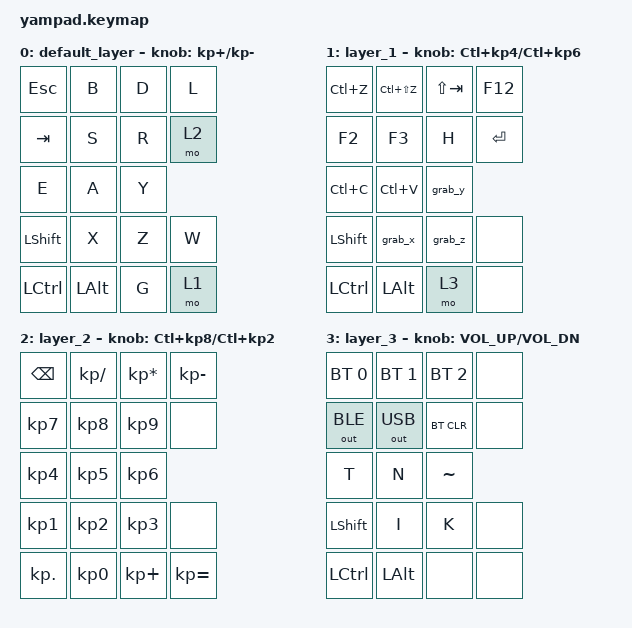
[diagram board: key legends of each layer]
#include <behaviors.dtsi>
#include <dt-bindings/zmk/keys.h>
#include <dt-bindings/zmk/bt.h>
#include <dt-bindings/zmk/outputs.h>

/ {
    macros {
        grab_x: grab_x {
            compatible = "zmk,behavior-macro";
            #binding-cells = <0>;
            wait-ms = <200>;
            tap-ms = <30>;
            bindings
                = <&macro_tap &kp G>
                , <&macro_tap &kp X>
                ;
        };
        
        grab_y: grab_y {
            compatible = "zmk,behavior-macro";
            #binding-cells = <0>;
            wait-ms = <200>;
            tap-ms = <30>;
            bindings
                = <&macro_tap &kp G>
                , <&macro_tap &kp Y>
                ;
        };
        
        grab_z: grab_z {
            compatible = "zmk,behavior-macro";
            #binding-cells = <0>;
            wait-ms = <200>;
            tap-ms = <30>;
            bindings
                = <&macro_tap &kp G>
                , <&macro_tap &kp Z>
                ;
        };

        default_view: default_view {
            compatible = "zmk,behavior-macro";
            #binding-cells = <0>;
            wait-ms = <200>;
            tap-ms = <30>;
            bindings
                = <&macro_tap &kp KP_N1>
                , <&macro_tap &kp KP_N5>
                , <&macro_tap &kp HOME>
                ;
        };
    };

    keymap {
        compatible = "zmk,keymap";

        default_layer {
            sensor-bindings = <&inc_dec_kp KP_PLUS KP_MINUS>;  // Zoom in/out
            bindings = <
                &kp ESCAPE       &kp B       &kp D       &kp L
                &kp TAB          &kp S       &kp R       &mo 2 
                &kp E            &kp A       &kp Y
                &kp LSHIFT       &kp X       &kp Z       &kp W
                &kp LCTRL        &kp LALT    &kp G       &mo 1
            >;
        };

        layer_1 { 
            sensor-bindings = <&inc_dec_kp LC(KP_NUMBER_4) LC(KP_NUMBER_6)>;  // Ctrl + Numpad 4/6 // PAN LEFT RIGHT
            bindings = <
                &kp LC(Z)        &kp LC(LS(Z))    &kp LS(TAB)      &kp F12
                &kp F2           &kp F3           &kp H            &kp ENTER 
                &kp LC(C)        &kp LC(V)        &grab_y
                &kp LSHIFT       &grab_x          &grab_z          &none
                &kp LCTRL        &kp LALT         &mo 3            &none
            >;
        };

        layer_2 { 
            sensor-bindings = <&inc_dec_kp LC(KP_NUMBER_8) LC(KP_NUMBER_2)>;  // Ctrl + Numpad 4/6 // PAN LEFT RIGHT
            bindings = <
                &kp BACKSPACE    &kp KP_DIVIDE    &kp KP_MULTIPLY  &kp KP_MINUS
                &kp KP_NUMBER_7  &kp KP_NUMBER_8  &kp KP_NUMBER_9  &none 
                &kp KP_NUMBER_4  &kp KP_NUMBER_5  &kp KP_NUMBER_6
                &kp KP_NUMBER_1  &kp KP_NUMBER_2  &kp KP_NUMBER_3  &none
                &kp KP_DOT       &kp KP_NUMBER_0  &kp KP_PLUS      &kp KP_EQUAL     
            >;
        };

        layer_3 { 
            sensor-bindings = <&inc_dec_kp C_VOL_UP C_VOL_DN>;  // Volume up/down
            bindings = <
                &bt BT_SEL 0     &bt BT_SEL 1     &bt BT_SEL 2     &none
                &out OUT_BLE     &out OUT_USB     &bt BT_CLR       &none
                &kp T            &kp N            &kp TILDE
                &kp LSHIFT       &kp I            &kp K            &none
                &kp LCTRL        &kp LALT         &none            &none
            >;
        };
    };
};
